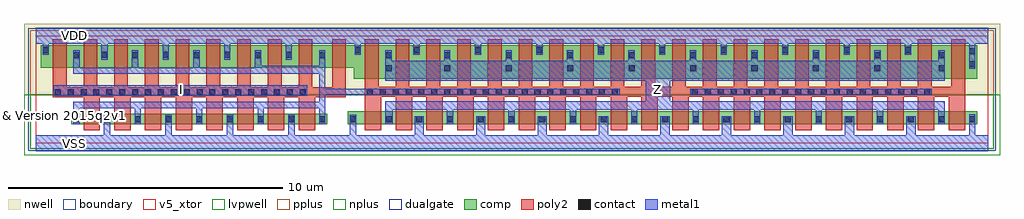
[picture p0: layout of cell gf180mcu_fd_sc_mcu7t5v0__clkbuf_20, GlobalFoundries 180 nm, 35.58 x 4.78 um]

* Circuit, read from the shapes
.subckt gf180mcu_fd_sc_mcu7t5v0__clkbuf_20 I VDD VSS Z
XM1 VSS I n1 VSUBS nfet_05v0 w=0.38u l=0.6u m=8
XM2 Z n1 VSS VSUBS nfet_05v0 w=0.47u l=0.6u m=20
XM3 n1 I VDD n2 pfet_05v0 w=0.82u l=0.5u m=10
XM4 Z n1 VDD n2 pfet_05v0 w=1.22u l=0.5u m=20
.ends

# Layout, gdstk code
import gdstk
lib = gdstk.Library(unit=1e-6, precision=1e-09)
def R(c, l, rs):  # rectangles x0, y0, x1, y1
    for r in rs: c.add(gdstk.rectangle(r[:2], r[2:], *l))
def A(c, l, x, y, w, h, nx, ny, dx, dy):  # array of equal rectangles
    R(c, l, [(x+i*dx, y+j*dy, x+i*dx+w, y+j*dy+h) for i in range(nx) for j in range(ny)])
def P(c, l, *ps):  # polygons
    for p in ps: c.add(gdstk.Polygon(p, *l))
boundary = (0, 0)
nwell = (21, 0)
comp = (22, 0)
poly2 = (30, 0)
pplus = (31, 0)
nplus = (32, 0)
contact = (33, 0)
metal1 = (34, 0)
dualgate = (55, 0)
v5_xtor = (112, 1)
lvpwell = (204, 0)

gf180mcu_fd_sc_mcu7t5v0_ = lib.new_cell('gf180mcu_fd_sc_mcu7t5v0__clkbuf_20')
R(gf180mcu_fd_sc_mcu7t5v0_, boundary, [(0,0,34.72,3.92)])
R(gf180mcu_fd_sc_mcu7t5v0_, nwell, [(-0.43,1.76,35.15,4.35)])
R(gf180mcu_fd_sc_mcu7t5v0_, comp, [(1.3,0.69,10.62,1.07), (11.38,0.69,34.32,1.16)])
P(gf180mcu_fd_sc_mcu7t5v0_, comp, [(11.6,2.36),(11.6,2.76),(0.18,2.76),(0.18,3.58),(34.32,3.58),(34.32,2.36)])
P(gf180mcu_fd_sc_mcu7t5v0_, poly2, [(1.74,0.47),(1.74,1.675),(0.62,1.675),(0.62,3.8),(1.12,3.8),(1.12,2.035),(1.74,2.035),(1.74,3.8),(2.24,3.8),(2.24,2.035),(2.86,2.035),(2.86,3.8),(3.36,3.8),(3.36,2.035),(3.98,2.035),(3.98,3.8),(4.48,3.8),(4.48,2.035),(5.1,2.035),(5.1,3.8),(5.6,3.8),(5.6,2.035),(6.22,2.035),(6.22,3.8),(6.72,3.8),(6.72,2.035),(7.34,2.035),(7.34,3.8),(7.84,3.8),(7.84,2.035),(8.46,2.035),(8.46,3.8),(8.96,3.8),(8.96,2.035),(9.58,2.035),(9.58,3.8),(10.08,3.8),(10.08,2.035),(10.8,2.035),(10.8,3.8),(11.3,3.8),(11.3,1.675),(10.18,1.675),(10.18,0.47),(9.58,0.47),(9.58,1.675),(9.06,1.675),(9.06,0.47),(8.46,0.47),(8.46,1.675),(7.94,1.675),(7.94,0.47),(7.34,0.47),(7.34,1.675),(6.82,1.675),(6.82,0.47),(6.22,0.47),(6.22,1.675),(5.7,1.675),(5.7,0.47),(5.1,0.47),(5.1,1.675),(4.58,1.675),(4.58,0.47),(3.98,0.47),(3.98,1.675),(3.46,1.675),(3.46,0.47),(2.86,0.47),(2.86,1.675),(2.34,1.675),(2.34,0.47)],
  [(12,0.47),(12,3.8),(12.5,3.8),(12.5,2.06),(13.12,2.06),(13.12,3.8),(13.62,3.8),(13.62,2.06),(14.24,2.06),(14.24,3.8),(14.74,3.8),(14.74,2.06),(15.36,2.06),(15.36,3.8),(15.86,3.8),(15.86,2.06),(16.48,2.06),(16.48,3.8),(16.98,3.8),(16.98,2.06),(17.6,2.06),(17.6,3.8),(18.1,3.8),(18.1,2.06),(18.72,2.06),(18.72,3.8),(19.22,3.8),(19.22,2.06),(19.84,2.06),(19.84,3.8),(20.34,3.8),(20.34,2.06),(20.96,2.06),(20.96,3.8),(21.46,3.8),(21.46,2.06),(22.08,2.06),(22.08,3.8),(22.58,3.8),(22.58,2.06),(23.2,2.06),(23.2,3.8),(23.7,3.8),(23.7,2.06),(24.32,2.06),(24.32,3.8),(24.82,3.8),(24.82,2.06),(25.44,2.06),(25.44,3.8),(25.94,3.8),(25.94,2.06),(26.56,2.06),(26.56,3.8),(27.06,3.8),(27.06,2.06),(27.68,2.06),(27.68,3.8),(28.18,3.8),(28.18,2.06),(28.8,2.06),(28.8,3.8),(29.3,3.8),(29.3,2.06),(29.92,2.06),(29.92,3.8),(30.42,3.8),(30.42,2.06),(31.04,2.06),(31.04,3.8),(31.54,3.8),(31.54,2.06),(32.16,2.06),(32.16,3.8),(32.66,3.8),(32.66,2.06),(33.38,2.06),(33.38,3.8),(33.88,3.8),(33.88,0.47),(33.28,0.47),(33.28,1.7),(32.76,1.7),(32.76,0.47),(32.16,0.47),(32.16,1.7),(31.64,1.7),(31.64,0.47),(31.04,0.47),(31.04,1.7),(30.52,1.7),(30.52,0.47),(29.92,0.47),(29.92,1.7),(29.4,1.7),(29.4,0.47),(28.8,0.47),(28.8,1.7),(28.28,1.7),(28.28,0.47),(27.68,0.47),(27.68,1.7),(27.16,1.7),(27.16,0.47),(26.56,0.47),(26.56,1.7),(26.04,1.7),(26.04,0.47),(25.44,0.47),(25.44,1.7),(24.92,1.7),(24.92,0.47),(24.32,0.47),(24.32,1.7),(23.8,1.7),(23.8,0.47),(23.2,0.47),(23.2,1.7),(22.68,1.7),(22.68,0.47),(22.08,0.47),(22.08,1.7),(21.56,1.7),(21.56,0.47),(20.96,0.47),(20.96,1.7),(20.44,1.7),(20.44,0.47),(19.84,0.47),(19.84,1.7),(19.32,1.7),(19.32,0.47),(18.72,0.47),(18.72,1.7),(18.2,1.7),(18.2,0.47),(17.6,0.47),(17.6,1.7),(17.08,1.7),(17.08,0.47),(16.48,0.47),(16.48,1.7),(15.96,1.7),(15.96,0.47),(15.36,0.47),(15.36,1.7),(14.84,1.7),(14.84,0.47),(14.24,0.47),(14.24,1.7),(13.72,1.7),(13.72,0.47),(13.12,0.47),(13.12,1.7),(12.6,1.7),(12.6,0.47)])
R(gf180mcu_fd_sc_mcu7t5v0_, pplus, [(-0.2,1.76,34.92,4.12)])
R(gf180mcu_fd_sc_mcu7t5v0_, nplus, [(-0.2,-0.2,34.92,1.76)])
A(gf180mcu_fd_sc_mcu7t5v0_, contact, 1.37, 0.76, 0.22, 0.22, 10, 1, 1.12, 0)
A(gf180mcu_fd_sc_mcu7t5v0_, contact, 12.75, 0.76, 0.22, 0.22, 20, 1, 1.12, 0)
A(gf180mcu_fd_sc_mcu7t5v0_, contact, 0.69, 1.745, 0.22, 0.22, 20, 1, 0.47, 0)
A(gf180mcu_fd_sc_mcu7t5v0_, contact, 12.07, 1.77, 0.22, 0.22, 20, 1, 0.47, 0)
A(gf180mcu_fd_sc_mcu7t5v0_, contact, 23.92, 1.77, 0.22, 0.22, 19, 1, 0.47, 0)
A(gf180mcu_fd_sc_mcu7t5v0_, contact, 14.89, 2.63, 0.22, 0.22, 8, 2, 2.24, 0.47)
A(gf180mcu_fd_sc_mcu7t5v0_, contact, 3.51, 3.1, 0.22, 0.22, 3, 1, 2.24, 0)
A(gf180mcu_fd_sc_mcu7t5v0_, contact, 2.39, 3.11, 0.22, 0.22, 4, 1, 2.24, 0)
A(gf180mcu_fd_sc_mcu7t5v0_, contact, 13.77, 3.29, 0.22, 0.22, 9, 1, 2.24, 0)
R(gf180mcu_fd_sc_mcu7t5v0_, contact, [(12.75,2.63,12.97,2.85), (32.91,2.63,33.13,2.85), (34.03,2.77,34.25,2.99), (1.37,3.1,1.59,3.32), (10.33,3.1,10.55,3.32), (12.75,3.1,12.97,3.32), (32.91,3.1,33.13,3.32), (34.03,3.24,34.25,3.46), (0.25,3.29,0.47,3.51), (11.63,3.29,11.85,3.51)])
R(gf180mcu_fd_sc_mcu7t5v0_, metal1, [(0.63,1.74,9.9,2.12), (23.86,1.765,32.66,1.995)])
P(gf180mcu_fd_sc_mcu7t5v0_, metal1, [(1.365,0.685),(1.365,1.505),(10.325,1.505),(10.325,2.53),(1.365,2.53),(1.365,3.39),(1.595,3.39),(1.595,2.76),(3.505,2.76),(3.505,3.39),(3.735,3.39),(3.735,2.76),(5.745,2.76),(5.745,3.39),(5.975,3.39),(5.975,2.76),(7.985,2.76),(7.985,3.39),(8.215,3.39),(8.215,2.82),(10.325,2.82),(10.325,3.39),(10.555,3.39),(10.555,1.995),(21.28,1.995),(21.28,1.765),(10.555,1.765),(10.555,0.685),(10.325,0.685),(10.325,1.27),(8.315,1.27),(8.315,0.685),(8.085,0.685),(8.085,1.27),(6.075,1.27),(6.075,0.685),(5.845,0.685),(5.845,1.27),(3.835,1.27),(3.835,0.685),(3.605,0.685),(3.605,1.27),(1.595,1.27),(1.595,0.685)],
  [(12.745,0.685),(12.745,1.535),(22.23,1.535),(22.23,2.27),(12.745,2.27),(12.745,3.39),(12.975,3.39),(12.975,3),(14.885,3),(14.885,3.39),(15.115,3.39),(15.115,3),(17.125,3),(17.125,3.39),(17.355,3.39),(17.355,3),(19.365,3),(19.365,3.39),(19.595,3.39),(19.595,3),(21.605,3),(21.605,3.39),(21.835,3.39),(21.835,3),(23.845,3),(23.845,3.39),(24.075,3.39),(24.075,3),(26.085,3),(26.085,3.39),(26.315,3.39),(26.315,3),(28.325,3),(28.325,3.39),(28.555,3.39),(28.555,3),(30.565,3),(30.565,3.39),(30.795,3.39),(30.795,3),(32.905,3),(32.905,3.39),(33.135,3.39),(33.135,2.27),(23.13,2.27),(23.13,1.535),(33.135,1.535),(33.135,0.685),(32.905,0.685),(32.905,1.215),(30.895,1.215),(30.895,0.685),(30.665,0.685),(30.665,1.215),(28.655,1.215),(28.655,0.685),(28.425,0.685),(28.425,1.215),(26.415,1.215),(26.415,0.685),(26.185,0.685),(26.185,1.215),(24.175,1.215),(24.175,0.685),(23.945,0.685),(23.945,1.215),(21.935,1.215),(21.935,0.685),(21.705,0.685),(21.705,1.215),(19.695,1.215),(19.695,0.685),(19.465,0.685),(19.465,1.215),(17.455,1.215),(17.455,0.685),(17.225,0.685),(17.225,1.215),(15.215,1.215),(15.215,0.685),(14.985,0.685),(14.985,1.215),(13.005,1.215),(13.005,0.685)],
  [(0,-0.3),(0,0.3),(2.485,0.3),(2.485,1.04),(2.715,1.04),(2.715,0.3),(4.725,0.3),(4.725,1.04),(4.955,1.04),(4.955,0.3),(6.965,0.3),(6.965,1.04),(7.195,1.04),(7.195,0.3),(9.205,0.3),(9.205,1.04),(9.435,1.04),(9.435,0.3),(11.445,0.3),(11.445,1.04),(11.675,1.04),(11.675,0.3),(13.81,0.3),(13.81,0.985),(14.15,0.985),(14.15,0.3),(16.05,0.3),(16.05,0.985),(16.39,0.985),(16.39,0.3),(18.29,0.3),(18.29,0.985),(18.63,0.985),(18.63,0.3),(20.53,0.3),(20.53,0.985),(20.87,0.985),(20.87,0.3),(22.77,0.3),(22.77,0.985),(23.11,0.985),(23.11,0.3),(25.01,0.3),(25.01,0.985),(25.35,0.985),(25.35,0.3),(27.25,0.3),(27.25,0.985),(27.59,0.985),(27.59,0.3),(29.49,0.3),(29.49,0.985),(29.83,0.985),(29.83,0.3),(31.73,0.3),(31.73,0.985),(32.07,0.985),(32.07,0.3),(34.025,0.3),(34.025,1.05),(34.255,1.05),(34.255,0.3),(34.72,0.3),(34.72,-0.3)],
  [(34.025,2.71),(34.025,3.62),(31.915,3.62),(31.915,3.23),(31.685,3.23),(31.685,3.62),(29.675,3.62),(29.675,3.23),(29.445,3.23),(29.445,3.62),(27.435,3.62),(27.435,3.23),(27.205,3.23),(27.205,3.62),(25.195,3.62),(25.195,3.23),(24.965,3.23),(24.965,3.62),(22.955,3.62),(22.955,3.23),(22.725,3.23),(22.725,3.62),(20.715,3.62),(20.715,3.23),(20.485,3.23),(20.485,3.62),(18.475,3.62),(18.475,3.23),(18.245,3.23),(18.245,3.62),(16.235,3.62),(16.235,3.23),(16.005,3.23),(16.005,3.62),(13.995,3.62),(13.995,3.23),(13.765,3.23),(13.765,3.62),(11.855,3.62),(11.855,3.23),(11.625,3.23),(11.625,3.62),(9.335,3.62),(9.335,3.05),(9.105,3.05),(9.105,3.62),(7.095,3.62),(7.095,3.05),(6.865,3.05),(6.865,3.62),(4.855,3.62),(4.855,3.05),(4.625,3.05),(4.625,3.62),(2.615,3.62),(2.615,3.05),(2.385,3.05),(2.385,3.62),(0.475,3.62),(0.475,3.23),(0.245,3.23),(0.245,3.62),(0,3.62),(0,4.22),(34.72,4.22),(34.72,3.62),(34.255,3.62),(34.255,2.71)])
R(gf180mcu_fd_sc_mcu7t5v0_, dualgate, [(-0.28,-0.28,35,4.2)])
R(gf180mcu_fd_sc_mcu7t5v0_, v5_xtor, [(0,0,34.72,3.92)])
R(gf180mcu_fd_sc_mcu7t5v0_, lvpwell, [(-0.43,-0.43,35.15,1.76)])
gf180mcu_fd_sc_mcu7t5v0_.add(gdstk.Label('VDD', (1.4,3.92), layer=34, texttype=10))
gf180mcu_fd_sc_mcu7t5v0_.add(gdstk.Label('VSS', (1.4,0), layer=34, texttype=10))
gf180mcu_fd_sc_mcu7t5v0_.add(gdstk.Label('Z', (22.68,1.96), layer=34, texttype=10))
gf180mcu_fd_sc_mcu7t5v0_.add(gdstk.Label('I', (5.32,1.96), layer=34, texttype=10))
gf180mcu_fd_sc_mcu7t5v0_.add(gdstk.Label('& Vendor GLOBALFOUNDRIES', (0,2), layer=63, texttype=63))
gf180mcu_fd_sc_mcu7t5v0_.add(gdstk.Label('& Product GF018hv5v_mcu_sc7', (0,1.5), layer=63, texttype=63))
gf180mcu_fd_sc_mcu7t5v0_.add(gdstk.Label('& Version 2015q2v1', (0,1), layer=63, texttype=63))
gf180mcu_fd_sc_mcu7t5v0_.add(gdstk.Label('& Metric 1.00', (0,0.5), layer=63, texttype=63))

lib.write_gds('gf180mcu_fd_sc_mcu7t5v0__clkbuf_20.gds')
